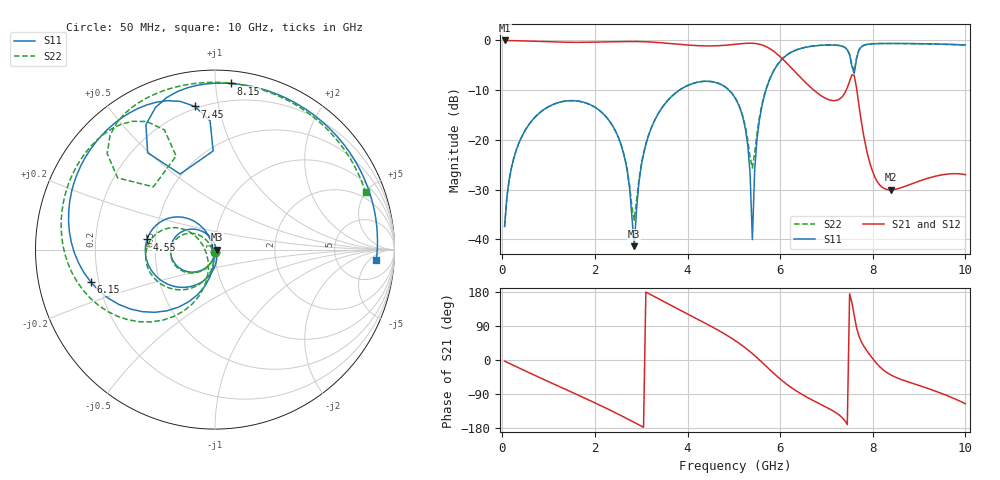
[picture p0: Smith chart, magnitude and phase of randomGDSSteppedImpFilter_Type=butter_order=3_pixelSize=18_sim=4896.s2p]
! freq	dB(S11)	phase(S11)	dB(S12)	phase(S12)
!  dB(S21)	phase(S21)	dB(S22)	phase(S22)
!S-par simulation data
#  GHz  S  DB  R 50
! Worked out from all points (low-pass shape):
!   200 points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, 50 MHz to 10 GHz, reference 50 ohm
!   highest |S21| = 0.00 dB at 50 MHz (marker M1); lowest = -30.0 dB at 8.4 GHz (marker M2)
!   |S21| within 3 dB of the highest: start of sweep to 5.968 GHz
!   lowest |S11| = -41.4 dB at 2.85 GHz (marker M3), VSWR 1.02, Z = 50.9 + j0.0263 ohm
!   |S11| at or under -10 dB: start of sweep to 3.826 GHz; 4.895 GHz to 5.693 GHz (798.8 MHz wide, 15.1 % of centre)
!   |S22| runs from -37.4 to -0.6 dB; largest |S21 - S12| = 0
!   S11 on the Smith chart (normalised r, x): 50 MHz: 1.00, -0.03; 4.55 GHz: 0.45, +0.06; 6.15 GHz: 0.17, -0.13; 7.45 GHz: 0.19, +0.85; 8.15 GHz: 0.08, +1.10; 10 GHz: 14, -9
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0.05  -37.41 -92.7  -0.00 -3.0  -0.00 -3.0  -37.40 -92.6
0.2  -25.49 -102.1  -0.03 -11.7  -0.03 -11.7  -25.49 -101.5
0.5  -17.98 -120.2  -0.11 -29.0  -0.11 -29.0  -17.97 -118.8
1.75  -12.42 167.7  -0.37 -98.9  -0.37 -98.9  -12.41 173.8
2.55  -20.57 116.9  -0.22 -145.8  -0.22 -145.8  -20.53 134.1
2.85  -41.35 1.7  -0.21 -164.6  -0.21 -164.6  -36.13 -154.6
3  -25.25 -80.2  -0.24 -174.2  -0.24 -174.2  -24.92 -97.5
3.4  -14.23 -112.1  -0.44 159.8  -0.44 159.8  -14.18 -111.5
4.55  -8.33 171.5  -1.10 86.1  -1.10 86.1  -8.31 -178.3
5.05  -11.95 134.6  -0.76 49.5  -0.76 49.5  -11.86 151.4
5.3  -20.99 114.9  -0.56 26.9  -0.56 26.9  -19.96 149.2
5.4  -40.05 -168.7  -0.57 16.8  -0.57 16.8  -25.66 -158.1
5.45  -25.98 -95.8  -0.60 11.5  -0.60 11.5  -22.64 -121.3
5.6  -13.49 -105.6  -0.89 -5.2  -0.89 -5.2  -13.12 -106.3
6.15  -2.91 -165.3  -4.64 -64.7  -4.64 -64.7  -2.86 -154.4
6.7  -1.15 151.1  -9.77 -106.2  -9.77 -106.2  -1.12 166.1
7.45  -1.88 98.0  -9.50 -170.5  -9.50 -170.5  -1.85 118.0
7.6  -6.67 114.8  -7.05 117.1  -7.05 117.1  -6.20 134.5
8.15  -0.63 84.4  -29.05 -17.6  -29.05 -17.6  -0.62 106.5
8.35  -0.61 74.1  -30.01 -36.6  -30.01 -36.6  -0.61 97.1
8.4  -0.61 71.6  -30.03 -40.1  -30.03 -40.1  -0.61 94.8
10  -0.91 -3.8  -26.98 -115.5  -26.98 -115.5  -0.94 20.9
